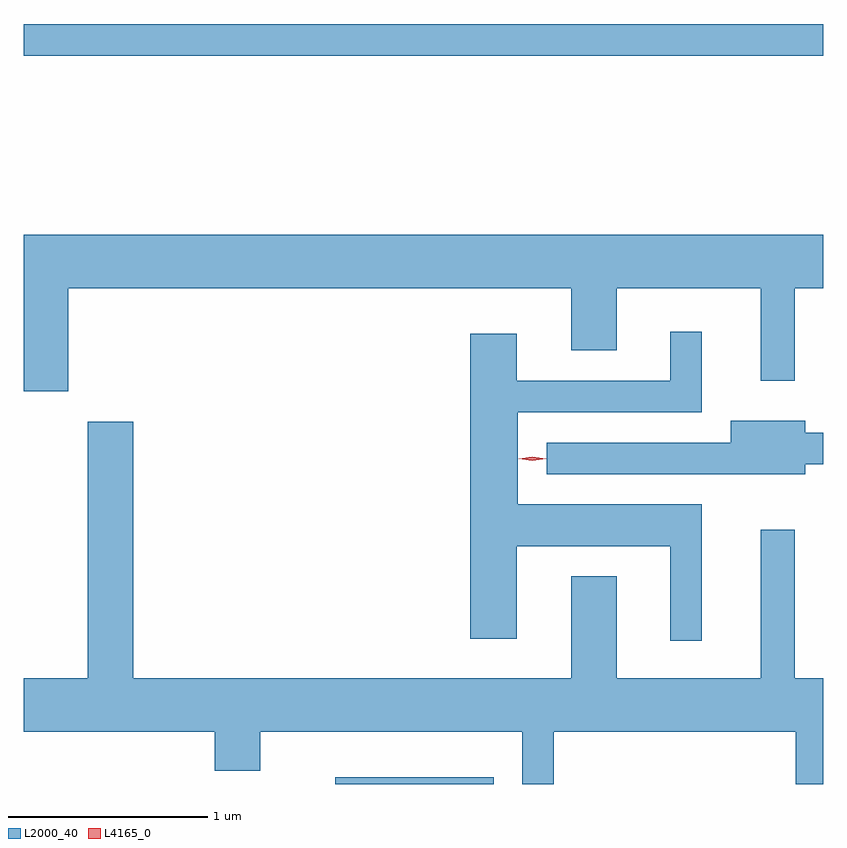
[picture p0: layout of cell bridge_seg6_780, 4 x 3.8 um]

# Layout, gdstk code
import gdstk
lib = gdstk.Library(unit=1e-6, precision=1e-09)
def R(c, l, rs):  # rectangles x0, y0, x1, y1
    for r in rs: c.add(gdstk.rectangle(r[:2], r[2:], *l))
def P(c, l, *ps):  # polygons
    for p in ps: c.add(gdstk.Polygon(p, *l))
L2000_40 = (2000, 40)
L4165_0 = (4165, 0)

bridge_seg6_780 = lib.new_cell('bridge_seg6_780')
R(bridge_seg6_780, L2000_40, [(558.351,1585.295,559.143,1585.329), (556.792,1588.941,560.792,1589.099)])
P(bridge_seg6_780, L2000_40, [(557.014,1587.776),(559.531,1587.776),(559.531,1587.466),(559.759,1587.466),(559.759,1587.776),(560.481,1587.776),(560.481,1587.313),(560.649,1587.313),(560.649,1587.776),(560.792,1587.776),(560.792,1588.044),(556.792,1588.044),(556.792,1587.261),(557.014,1587.261)],
  [(560.184,1586.694),(559.264,1586.694),(559.264,1587.156),(560.184,1587.156),(560.184,1587.558),(560.026,1587.558),(560.026,1587.314),(559.259,1587.314),(559.259,1587.549),(559.026,1587.549),(559.026,1586.021),(559.259,1586.021),(559.259,1586.486),(560.026,1586.486),(560.026,1586.013),(560.184,1586.013)],
  [(560.704,1586.896),(560.792,1586.896),(560.792,1587.054),(560.704,1587.054),(560.704,1587.114),(560.331,1587.114),(560.331,1587.004),(559.408,1587.004),(559.408,1586.846),(560.704,1586.846)],
  [(559.444,1585.556),(560.656,1585.556),(560.656,1585.295),(560.792,1585.295),(560.792,1585.824),(560.649,1585.824),(560.649,1586.568),(560.481,1586.568),(560.481,1585.824),(559.759,1585.824),(559.759,1586.334),(559.531,1586.334),(559.531,1585.824),(557.339,1585.824),(557.339,1587.109),(557.111,1587.109),(557.111,1585.824),(556.792,1585.824),(556.792,1585.556),(557.746,1585.556),(557.746,1585.361),(557.974,1585.361),(557.974,1585.556),(559.286,1585.556),(559.286,1585.295),(559.444,1585.295)])
P(bridge_seg6_780, L4165_0, [(559.337,1586.914),(559.271,1586.923),(559.27,1586.924),(559.271,1586.924),(559.337,1586.934),(559.402,1586.924),(559.403,1586.924),(559.402,1586.923)],
  [(559.337,1586.914),(559.268,1586.923),(559.268,1586.924),(559.268,1586.924),(559.337,1586.934),(559.406,1586.924),(559.406,1586.924),(559.406,1586.923)])

lib.write_gds('bridge_seg6_780.gds')
